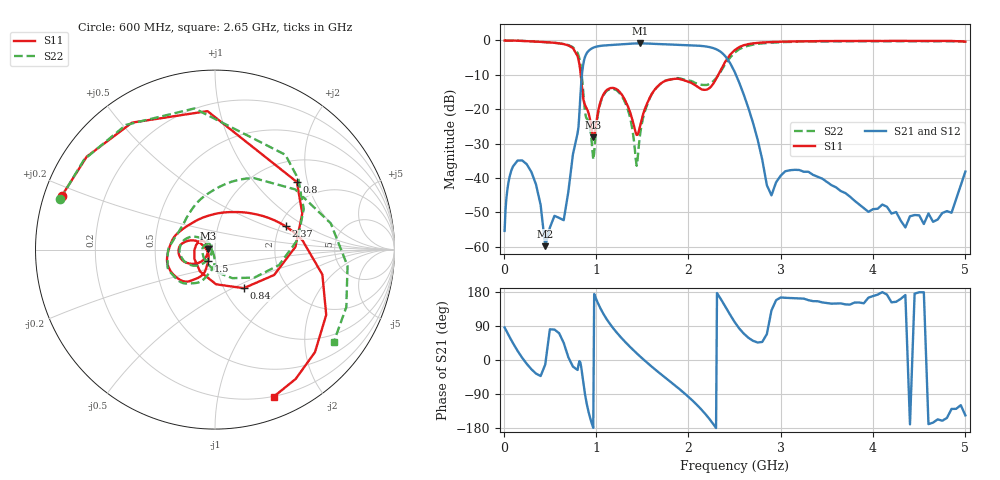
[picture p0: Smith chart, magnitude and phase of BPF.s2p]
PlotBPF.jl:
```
using Revise
using PGFPlotsX
using Marconi

bpf = readTouchstone("examples/BPF.s2p")

sc = SmithChart()

plotSmith!(sc,bpf,(1,1))
plotSmith!(sc,bpf,(2,2))

sc.contents[2]["color"] = "red"

plotSmithCircle!(sc,0.5,0.5,0.4,opts = @pgf({"very thick"}))

sc["title"] = "My Smith Chart"

sc
```
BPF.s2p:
!Created: 07-08-2014 at 15:45:11
!MODEL: BFCG-162W+
!S/N: Unit 1
# MHZ S DB R 50
!Frequency  S11 dB  S11 DEG  S21 dB  S21 DEG  S12 dB  S12 DEG  S22 dB  S22 DEG
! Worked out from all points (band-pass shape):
!   236 points, 10 MHz to 5 GHz, reference 50 ohm
!   highest |S21| = -0.89 dB at 1.48 GHz (marker M1); lowest = -59.9 dB at 450 MHz (marker M2)
!   |S21| within 3 dB of the highest: 896.4 MHz to 2.374 GHz (1.478 GHz wide, 90.4 % of centre)
!   lowest |S11| = -28.2 dB at 970 MHz (marker M3), VSWR 1.08, Z = 46.3 + j0.535 ohm
!   |S11| at or under -10 dB: 834.3 MHz to 2.324 GHz (1.49 GHz wide, 94.3 % of centre)
!   |S22| runs from -36.5 to 0.0 dB; largest |S21 - S12| = 0.0014
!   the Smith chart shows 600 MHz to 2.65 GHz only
!   S11 on the Smith chart (normalised r, x): 600 MHz: 0.05, +0.17; 800 MHz: 1.48, +1.72; 840 MHz: 1.23, -0.57; 1.5 GHz: 0.92, -0.12; 2.37 GHz: 2.15, +0.67; 2.65 GHz: 0.20, -1.46
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10  -0.05 -4.7  -55.42 85.9  -55.31 82.8  -0.03 -4.5
450  -0.51 -158.7  -59.85 -12.1  -59.99 -12.7  -0.52 -157.7
600  -0.87 160.8  -51.62 70.9  -51.71 71.0  -0.85 161.8
800  -4.56 39.6  -27.04 -26.3  -27.05 -26.3  -3.64 53.4
840  -11.44 -53.4  -12.36 -19.4  -12.36 -19.4  -8.70 -13.5
970  -28.20 171.5  -2.14 -179.1  -2.13 -179.2  -34.66 176.8
1480  -24.54 -127.1  -0.89 8.8  -0.88 8.8  -26.86 -94.5
1500  -22.39 -120.2  -0.89 4.3  -0.88 4.3  -23.71 -91.8
2370  -7.65 18.2  -3.79 153.4  -3.78 153.3  -8.17 76.1
2550  -1.96 -45.7  -12.24 83.5  -12.24 83.5  -2.57 -7.1
2650  -1.09 -68.3  -19.69 58.6  -19.68 58.6  -1.54 -37.8
5000  -0.35 -165.8  -38.15 -146.1  -38.22 -146.1  -0.43 -158.5
